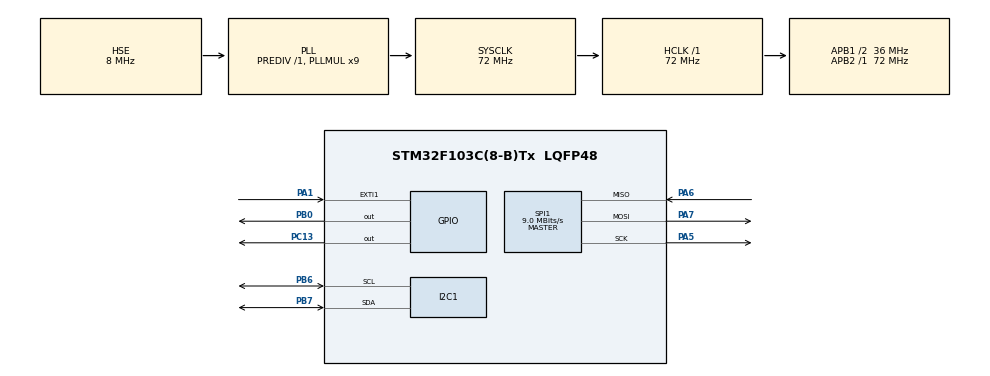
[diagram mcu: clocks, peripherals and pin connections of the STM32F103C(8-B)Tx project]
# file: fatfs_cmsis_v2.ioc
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FATFS._FS_REENTRANT=0
FATFS._MAX_SS=4096
FATFS._USE_LFN=2
FREERTOS.HEAP_NUMBER=4
FREERTOS.Tasks01=defaultTask,24,128,StartDefaultTask,Default,NULL,Dynamic,NULL,NULL;Counter,48,256,osCounter,Default,NULL,Dynamic,NULL,NULL;LCDTask,48,128,osLCD,Default,NULL,Dynamic,NULL,NULL
FREERTOS.configTOTAL_HEAP_SIZE=5000
FREERTOS.configUSE_NEWLIB_REENTRANT=1
I2C1.I2C_Mode=I2C_Fast
Mcu.Family=STM32F1
Mcu.Name=STM32F103C(8-B)Tx
Mcu.Package=LQFP48
NVIC.EXTI1_IRQn=true\:5\:0\:false\:false\:true\:true\:true\:true\:true
NVIC.PriorityGroup=NVIC_PRIORITYGROUP_4
NVIC.TIM1_UP_IRQn=true\:15\:0\:false\:false\:true\:false\:false\:true\:true
NVIC.TimeBase=TIM1_UP_IRQn
NVIC.TimeBaseIP=TIM1
PA1.GPIO_ModeDefaultEXTI=GPIO_MODE_IT_FALLING
PA1.GPIO_PuPd=GPIO_NOPULL
PA1.Signal=GPXTI1
PA13.Mode=Serial_Wire
PA13.Signal=SYS_JTMS-SWDIO
PA14.Mode=Serial_Wire
PA14.Signal=SYS_JTCK-SWCLK
PA5.Mode=Full_Duplex_Master
PA5.Signal=SPI1_SCK
PA6.Mode=Full_Duplex_Master
PA6.Signal=SPI1_MISO
PA7.Mode=Full_Duplex_Master
PA7.Signal=SPI1_MOSI
PB0.Signal=GPIO_Output
PB6.Mode=I2C
PB6.Signal=I2C1_SCL
PB7.Mode=I2C
PB7.Signal=I2C1_SDA
PC13-TAMPER-RTC.Signal=GPIO_Output
PD0-OSC_IN.Mode=HSE-External-Oscillator
PD0-OSC_IN.Signal=RCC_OSC_IN
PD1-OSC_OUT.Mode=HSE-External-Oscillator
PD1-OSC_OUT.Signal=RCC_OSC_OUT
ProjectManager.HeapSize=0x200
ProjectManager.StackSize=0x400
ProjectManager.TargetToolchain=STM32CubeIDE
RCC.AHBFreq_Value=72000000
RCC.APB1CLKDivider=RCC_HCLK_DIV2
RCC.APB1Freq_Value=36000000
RCC.APB1TimFreq_Value=72000000
RCC.APB2Freq_Value=72000000
RCC.APB2TimFreq_Value=72000000
RCC.HCLKFreq_Value=72000000
RCC.PLLMUL=RCC_PLL_MUL9
RCC.PLLSourceVirtual=RCC_PLLSOURCE_HSE
RCC.SYSCLKFreq_VALUE=72000000
RCC.SYSCLKSource=RCC_SYSCLKSOURCE_PLLCLK
RCC.USBFreq_Value=72000000
SPI1.BaudRatePrescaler=SPI_BAUDRATEPRESCALER_8
SPI1.CalculateBaudRate=9.0 MBits/s
SPI1.Direction=SPI_DIRECTION_2LINES
SPI1.Mode=SPI_MODE_MASTER
SPI1.VirtualType=VM_MASTER
VP_FATFS_VS_Generic.Mode=User_defined
VP_FREERTOS_VS_CMSIS_V2.Mode=CMSIS_V2
VP_SYS_VS_tim1.Mode=TIM1
board=custom

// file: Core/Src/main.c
/* USER CODE BEGIN Header */
/**
  ******************************************************************************
  * @file           : main.c
  * @brief          : Main program body
  ******************************************************************************
  * @attention
  *
  * Copyright (c) 2024 STMicroelectronics.
  * All rights reserved.
  *
  * This software is licensed under terms that can be found in the LICENSE file
  * in the root directory of this software component.
  * If no LICENSE file comes with this software, it is provided AS-IS.
  *
  ******************************************************************************
  */
/* USER CODE END Header */
#include "main.h"
#include "cmsis_os.h"
#include "fatfs.h"

/* USER CODE BEGIN Includes */
#include "FreeRTOS.h"
#include "fatfs_sd.h"
#include <stdio.h>
#include "i2c-lcd.h"
/* USER CODE END Includes */

I2C_HandleTypeDef hi2c1;

SPI_HandleTypeDef hspi1;

/* Definitions for defaultTask */
osThreadId_t defaultTaskHandle;
const osThreadAttr_t defaultTask_attributes = {
  .name = "defaultTask",
  .stack_size = 128 * 4,
  .priority = (osPriority_t) osPriorityNormal,
};
/* Definitions for Counter */
osThreadId_t CounterHandle;
const osThreadAttr_t Counter_attributes = {
  .name = "Counter",
  .stack_size = 256 * 4,
  .priority = (osPriority_t) osPriorityRealtime,
};
/* Definitions for LCDTask */
osThreadId_t LCDTaskHandle;
const osThreadAttr_t LCDTask_attributes = {
  .name = "LCDTask",
  .stack_size = 128 * 4,
  .priority = (osPriority_t) osPriorityRealtime,
};

void SystemClock_Config(void);
static void MX_GPIO_Init(void);
static void MX_SPI1_Init(void);
static void MX_I2C1_Init(void);
void StartDefaultTask(void *argument);
void osCounter(void *argument);
void osLCD(void *argument);

/* USER CODE BEGIN 0 */
FATFS fs;
FIL fil;
FRESULT fres;

uint32_t indexx = 0;

uint8_t secPerHundred = 0;
uint8_t sec = 0;
uint8_t min = 0;

uint8_t counterFlag = 0;
char buf[20];

uint8_t deboundInterrupt = 0;
uint32_t quantity = 0;
/* USER CODE END 0 */

int main(void)
{

  /* MCU Configuration--------------------------------------------------------*/

  /* Reset of all peripherals, Initializes the Flash interface and the Systick. */
  HAL_Init();

  /* Configure the system clock */
  SystemClock_Config();

  /* Initialize all configured peripherals */
  MX_GPIO_Init();
  MX_SPI1_Init();
  MX_FATFS_Init();
  MX_I2C1_Init();
  /* USER CODE BEGIN 2 */
  HAL_Delay(1000);
  lcd_init();
  fres = f_mount(&fs, "", 0);
  fres = f_open(&fil, "record.csv", FA_OPEN_ALWAYS | FA_WRITE);
  f_puts("STT,Time\n", &fil);
  f_close(&fil);
  /* USER CODE END 2 */

  /* Init scheduler */
  osKernelInitialize();

  /* Create the thread(s) */
  /* creation of defaultTask */
  defaultTaskHandle = osThreadNew(StartDefaultTask, NULL, &defaultTask_attributes);

  /* creation of Counter */
  CounterHandle = osThreadNew(osCounter, NULL, &Counter_attributes);

  /* creation of LCDTask */
  LCDTaskHandle = osThreadNew(osLCD, NULL, &LCDTask_attributes);

  /* Start scheduler */
  osKernelStart();

  /* We should never get here as control is now taken by the scheduler */

  /* Infinite loop */
  while (1)
  {

  }
}

void SystemClock_Config(void)
{
  RCC_OscInitTypeDef RCC_OscInitStruct = {0};
  RCC_ClkInitTypeDef RCC_ClkInitStruct = {0};

  /** Initializes the RCC Oscillators according to the specified parameters
  * in the RCC_OscInitTypeDef structure.
  */
  RCC_OscInitStruct.OscillatorType = RCC_OSCILLATORTYPE_HSE;
  RCC_OscInitStruct.HSEState = RCC_HSE_ON;
  RCC_OscInitStruct.HSEPredivValue = RCC_HSE_PREDIV_DIV1;
  RCC_OscInitStruct.HSIState = RCC_HSI_ON;
  RCC_OscInitStruct.PLL.PLLState = RCC_PLL_ON;
  RCC_OscInitStruct.PLL.PLLSource = RCC_PLLSOURCE_HSE;
  RCC_OscInitStruct.PLL.PLLMUL = RCC_PLL_MUL9;
  if (HAL_RCC_OscConfig(&RCC_OscInitStruct) != HAL_OK)
  {
    Error_Handler();
  }

  /** Initializes the CPU, AHB and APB buses clocks
  */
  RCC_ClkInitStruct.ClockType = RCC_CLOCKTYPE_HCLK|RCC_CLOCKTYPE_SYSCLK
                              |RCC_CLOCKTYPE_PCLK1|RCC_CLOCKTYPE_PCLK2;
  RCC_ClkInitStruct.SYSCLKSource = RCC_SYSCLKSOURCE_PLLCLK;
  RCC_ClkInitStruct.AHBCLKDivider = RCC_SYSCLK_DIV1;
  RCC_ClkInitStruct.APB1CLKDivider = RCC_HCLK_DIV2;
  RCC_ClkInitStruct.APB2CLKDivider = RCC_HCLK_DIV1;

  if (HAL_RCC_ClockConfig(&RCC_ClkInitStruct, FLASH_LATENCY_2) != HAL_OK)
  {
    Error_Handler();
  }
}

static void MX_I2C1_Init(void)
{

  hi2c1.Instance = I2C1;
  hi2c1.Init.ClockSpeed = 400000;
  hi2c1.Init.DutyCycle = I2C_DUTYCYCLE_2;
  hi2c1.Init.OwnAddress1 = 0;
  hi2c1.Init.AddressingMode = I2C_ADDRESSINGMODE_7BIT;
  hi2c1.Init.DualAddressMode = I2C_DUALADDRESS_DISABLE;
  hi2c1.Init.OwnAddress2 = 0;
  hi2c1.Init.GeneralCallMode = I2C_GENERALCALL_DISABLE;
  hi2c1.Init.NoStretchMode = I2C_NOSTRETCH_DISABLE;
  if (HAL_I2C_Init(&hi2c1) != HAL_OK)
  {
    Error_Handler();
  }

}

static void MX_SPI1_Init(void)
{

  /* SPI1 parameter configuration*/
  hspi1.Instance = SPI1;
  hspi1.Init.Mode = SPI_MODE_MASTER;
  hspi1.Init.Direction = SPI_DIRECTION_2LINES;
  hspi1.Init.DataSize = SPI_DATASIZE_8BIT;
  hspi1.Init.CLKPolarity = SPI_POLARITY_LOW;
  hspi1.Init.CLKPhase = SPI_PHASE_1EDGE;
  hspi1.Init.NSS = SPI_NSS_SOFT;
  hspi1.Init.BaudRatePrescaler = SPI_BAUDRATEPRESCALER_8;
  hspi1.Init.FirstBit = SPI_FIRSTBIT_MSB;
  hspi1.Init.TIMode = SPI_TIMODE_DISABLE;
  hspi1.Init.CRCCalculation = SPI_CRCCALCULATION_DISABLE;
  hspi1.Init.CRCPolynomial = 10;
  if (HAL_SPI_Init(&hspi1) != HAL_OK)
  {
    Error_Handler();
  }

}

static void MX_GPIO_Init(void)
{
  GPIO_InitTypeDef GPIO_InitStruct = {0};

  /* GPIO Ports Clock Enable */
  __HAL_RCC_GPIOC_CLK_ENABLE();
  __HAL_RCC_GPIOD_CLK_ENABLE();
  __HAL_RCC_GPIOA_CLK_ENABLE();
  __HAL_RCC_GPIOB_CLK_ENABLE();

  /*Configure GPIO pin Output Level */
  HAL_GPIO_WritePin(GPIOC, GPIO_PIN_13, GPIO_PIN_RESET);

  /*Configure GPIO pin Output Level */
  HAL_GPIO_WritePin(GPIOB, GPIO_PIN_0, GPIO_PIN_RESET);

  /*Configure GPIO pin : PC13 */
  GPIO_InitStruct.Pin = GPIO_PIN_13;
  GPIO_InitStruct.Mode = GPIO_MODE_OUTPUT_PP;
  GPIO_InitStruct.Pull = GPIO_NOPULL;
  GPIO_InitStruct.Speed = GPIO_SPEED_FREQ_LOW;
  HAL_GPIO_Init(GPIOC, &GPIO_InitStruct);

  /*Configure GPIO pin : PA1 */
  GPIO_InitStruct.Pin = GPIO_PIN_1;
  GPIO_InitStruct.Mode = GPIO_MODE_IT_FALLING;
  GPIO_InitStruct.Pull = GPIO_NOPULL;
  HAL_GPIO_Init(GPIOA, &GPIO_InitStruct);

  /*Configure GPIO pin : PB0 */
  GPIO_InitStruct.Pin = GPIO_PIN_0;
  GPIO_InitStruct.Mode = GPIO_MODE_OUTPUT_PP;
  GPIO_InitStruct.Pull = GPIO_NOPULL;
  GPIO_InitStruct.Speed = GPIO_SPEED_FREQ_LOW;
  HAL_GPIO_Init(GPIOB, &GPIO_InitStruct);

  /* EXTI interrupt init*/
  HAL_NVIC_SetPriority(EXTI1_IRQn, 5, 0);
  HAL_NVIC_EnableIRQ(EXTI1_IRQn);

}

/* USER CODE BEGIN 4 */
void HAL_GPIO_EXTI_Callback(uint16_t GPIO_Pin)
{
  /* Prevent unused argument(s) compilation warning */
  UNUSED(GPIO_Pin);
  if(GPIO_Pin == GPIO_PIN_1){
	  deboundInterrupt++;
	  if(deboundInterrupt == 3){
		  quantity++;
		  counterFlag = 1;
	  	  deboundInterrupt = 0;
	  	  indexx++;
	  	  char cIndex[5];
			sprintf(cIndex,"%ld",indexx);
			f_mount(&fs, "", 0);
			f_open(&fil, "record.csv", FA_OPEN_ALWAYS | FA_WRITE);
			f_lseek(&fil, f_size(&fil));
			f_puts(cIndex, &fil);
			f_puts(",", &fil);
			f_puts(buf, &fil);
			f_puts("\n", &fil);
			f_close(&fil);
	  }
  }
}

/* USER CODE END 4 */

void StartDefaultTask(void *argument)
{
  /* USER CODE BEGIN 5 */
  /* Infinite loop */
  for(;;)
  {
    HAL_GPIO_TogglePin(GPIOC, GPIO_PIN_13);
    osDelay(500);
  }
  /* USER CODE END 5 */
}

void osCounter(void *argument)
{
  /* USER CODE BEGIN osCounter */
  /* Infinite loop */
  for(;;)
  {
	  if(HAL_GPIO_ReadPin(GPIOA, GPIO_PIN_1) == 0){
		  if(counterFlag == 1){
			  min = sec = secPerHundred = 0;
			  counterFlag = 0;
		  }
			osDelay(10/portTICK_PERIOD_MS);
			if(++secPerHundred == 100){
				secPerHundred = 0;
				if(++sec == 60){
					min++;
					sec = 0;
				}
			}
	  }
	  else{
		  osDelay(1);
	  }
  }
  /* USER CODE END osCounter */
}

void osLCD(void *argument)
{
  /* USER CODE BEGIN osLCD */
  /* Infinite loop */
	char arrQuantity[10];
  for(;;)
  {
		lcd_goto_XY (1, 2);
		sprintf(buf,"%d%d ; %d%d ; %d%d",min/10,min%10,sec/10,sec%10,(secPerHundred/10),(secPerHundred%10));
		lcd_send_string (buf);
		lcd_goto_XY (2, 0);
		sprintf(arrQuantity,"Da luu: %ld", quantity);
		lcd_send_string (arrQuantity);
		osDelay(10/portTICK_PERIOD_MS);
  }
  /* USER CODE END osLCD */
}

void HAL_TIM_PeriodElapsedCallback(TIM_HandleTypeDef *htim)
{
  if (htim->Instance == TIM1) {
    HAL_IncTick();
  }
}

void Error_Handler(void)
{
  __disable_irq();
  while (1)
  {
  }
}
